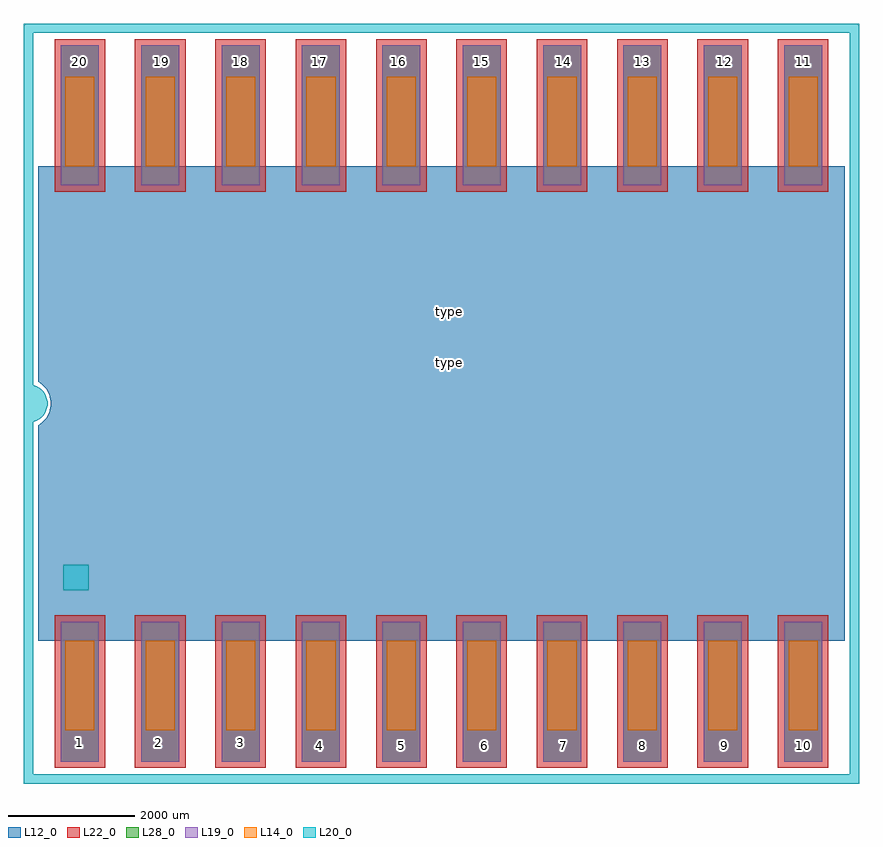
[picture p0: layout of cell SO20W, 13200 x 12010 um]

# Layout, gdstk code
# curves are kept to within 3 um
import gdstk
lib = gdstk.Library(unit=1e-6, precision=1e-09)
def R(c, l, rs):  # rectangles x0, y0, x1, y1
    for r in rs: c.add(gdstk.rectangle(r[:2], r[2:], *l))
def A(c, l, x, y, w, h, nx, ny, dx, dy):  # array of equal rectangles
    R(c, l, [(x+i*dx, y+j*dy, x+i*dx+w, y+j*dy+h) for i in range(nx) for j in range(ny)])
def P(c, l, *ps):  # polygons
    for p in ps: c.add(gdstk.Polygon(p, *l))
L12_0 = (12, 0)
L14_0 = (14, 0)
L19_0 = (19, 0)
L20_0 = (20, 0)
L22_0 = (22, 0)
L28_0 = (28, 0)

so20w = lib.new_cell('SO20W')
P(so20w, L12_0, [(12750.005,7500.005),(0,7500.005),(0,4096.413),(29.431,4077.664),(82.843,4032.846),(127.661,3979.434),(146.41,3950.003),(175.877,3886.811),(186.37,3853.531),(198.478,3784.865),(200,3750.003),(198.478,3715.141),(186.37,3646.475),(175.877,3613.195),(146.41,3550.003),(127.661,3520.572),(82.843,3467.16),(29.431,3422.342),(0,3403.593),(0,0),(12750.005,0)])
A(so20w, L14_0, 430, -1410, 460, 1410, 10, 2, 1270, 8910)
A(so20w, L19_0, 360, -1910, 600, 2210, 10, 2, 1270, 9110)
R(so20w, L20_0, [(400,800,800,1200)])
P(so20w, L20_0, [(-150,4050),(-150,3450),(-97.906,3454.558),(-47.394,3468.092),(22.073,3504.254),(62.132,3537.868),(95.746,3577.927),(131.908,3647.394),(145.442,3697.906),(150,3750),(145.442,3802.094),(131.908,3852.606),(95.746,3922.073),(62.132,3962.132),(22.073,3995.746),(-47.394,4031.908),(-97.906,4045.442)])
A(so20w, L22_0, 260, -2010, 800, 2410, 10, 2, 1270, 9110)
A(so20w, L28_0, 360, -1910, 600, 2210, 10, 2, 1270, 9110)
so20w.add(gdstk.FlexPath([(-150,9605),(-150,-2180),(12900,-2180),(12900,9680),(-225,9680)], 150, ends="flush", simple_path=True, layer=20, datatype=0))  # L20_0
so20w.add(gdstk.Label('9', (10840,-1650), layer=28, texttype=0))
so20w.add(gdstk.Label('10', (12090,-1650), layer=28, texttype=0))
so20w.add(gdstk.Label('11', (12090,9150), layer=28, texttype=0))
so20w.add(gdstk.Label('12', (10840,9150), layer=28, texttype=0))
so20w.add(gdstk.Label('20', (650,9150), layer=28, texttype=0))
so20w.add(gdstk.Label('19', (1950,9150), layer=28, texttype=0))
so20w.add(gdstk.Label('18', (3200,9150), layer=28, texttype=0))
so20w.add(gdstk.Label('17', (4450,9150), layer=28, texttype=0))
so20w.add(gdstk.Label('16', (5700,9150), layer=28, texttype=0))
so20w.add(gdstk.Label('15', (7000,9150), layer=28, texttype=0))
so20w.add(gdstk.Label('14', (8300,9150), layer=28, texttype=0))
so20w.add(gdstk.Label('13', (9550,9150), layer=28, texttype=0))
so20w.add(gdstk.Label('8', (9550,-1650), layer=28, texttype=0))
so20w.add(gdstk.Label('7', (8300,-1650), layer=28, texttype=0))
so20w.add(gdstk.Label('6', (7050,-1650), layer=28, texttype=0))
so20w.add(gdstk.Label('5', (5750,-1650), layer=28, texttype=0))
so20w.add(gdstk.Label('4', (4450,-1650), layer=28, texttype=0))
so20w.add(gdstk.Label('3', (3200,-1600), layer=28, texttype=0))
so20w.add(gdstk.Label('2', (1900,-1600), layer=28, texttype=0))
so20w.add(gdstk.Label('1', (650,-1600), layer=28, texttype=0))
so20w.add(gdstk.Label('type', (6500,4400), layer=10, texttype=0))
so20w.add(gdstk.Label('type', (6500,5200), layer=20, texttype=0))
so20w.add(gdstk.Label('devicename', (-700,4200), layer=20, texttype=0))

lib.write_gds('SO20W.gds')
